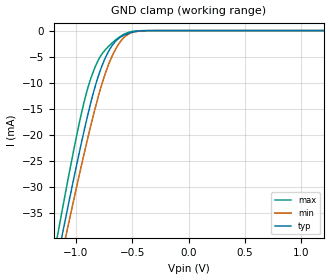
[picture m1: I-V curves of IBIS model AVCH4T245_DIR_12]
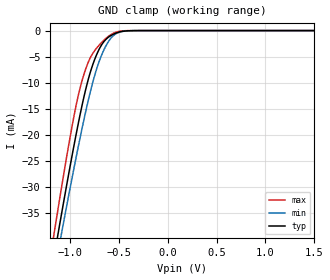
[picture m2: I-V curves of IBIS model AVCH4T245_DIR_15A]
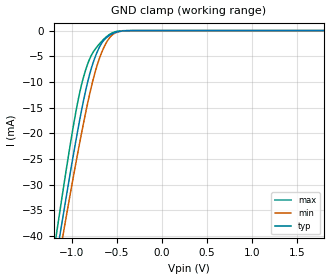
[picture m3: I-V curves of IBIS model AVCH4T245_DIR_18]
| TEXAS INSTRUMENTS INCORPORATED
| Standard Linear and Logic Group
| IBIS Model of SN74AVCH4T245
| 4-BIT DUAL-SUPPLY BUS TRANSCEIVER WITH CONFIGURABLE VOLTAGE
| TRANSLATION AND 3-STATE OUPUTS
| This file contains package information for the following:
|  SOIC 16-pin (D) package as [Component] AVCH4T245_D
|  QFN 16-pin (RGY) package as [Component] AVCH4T245_RGY
|  TSSOP 16-pin (PW) package as [Component] AVCH4T245_PW
|  TVSOP 16-pin (DGV) package as [Component] AVCH4T245_DGV
| This device can be powered at the following Vccs:
|  1.2 volt Vcc
|  1.5 volt Vcc
|  1.8 volt Vcc
|  2.5 volt Vcc
|  3.3 volt Vcc
| This file provides unique models under the [Model Selector] for each Vcc.
| For operation at a specific Vcc, select the appropriate model after each
| [Model Selector] keyword.
[IBIS Ver]   3.2
[Comment char]  |_char
[File Name]   sn74avch4t245.ibs
[File Rev]   1.1 | x_die
[Date]   April 28, 2004
[Source]   Data created from TI-SPICE simulations at TI-SLL.
[Notes]   The following is an IBIS list for the AVCH4T245.
   Please contact sllibis@ti.com with questions and
   comments concerning SLL IBIS models.
   - FILE REV HISTORY
   - 1.1 Release IBIS file on 02/15/06
   - Due to presence of bus hold at input, GND-clamp curves
   have non-monotonic warnings.
   - Power clamp data deleted as there is no power-clamp diode.
   - Due to the fact that the Device is 4.6-V Input/Output
   tolarent, the I/O models has some Non-Monotonic Warnings.
[Disclaimer] Property of Texas Instruments Incorporated.  Unauthorized
                reproduction and/or distribution is strictly prohibited.
                This product is protected under copyright law.
                Created  2004, (C) Copyright  2004, Texas Instruments
                Incorporated, All Rights Reserved
                UNLESS THERE IS A SIGNED, WRITTEN AGREEMENT TO THE
                CONTRARY, TEXAS INSTRUMENTS (TI) IS PROVIDING THE IBIS
                MODELS  AND WITHOUT ANY WARRANTY, EXPRESSED OR
                IMPLIED.  TI assumes no liability for:
                 1) the accuracy of the IBIS models provided to your
                    company;
                 2) the proper functioning of these IBIS Models in your
                    design or for any resulting applications; or
                 3) infringement of patents, copyrights or intellectual
                    property rights resulting from your use of these IBIS
                    models.
                TI provides IBIS Models as a service to our customers.
                You and your company shall not distribute, sell or give
                these models to anyone else without prior written
                permission from TI.
                TI reserves the right to make changes to our products or
                to discontinue any semiconductor product or service
                without notice, and advises our customers to obtain the
                latest version of relevant information to verify, before
                placing orders, that the information being relied on is
                current.
                Please be aware that your receipt and use of the IBIS
                information provided shall serve as acceptance of these
                terms and conditions.  If you do not accept these terms,
                you should return or destroy the IBIS models and any
                other accompanying information immediately.
| Component AVCH4T245_D 16-pin SOIC
[Component]   AVCH4T245_D
[Manufacturer]   Texas Instruments, Inc.
[Package]
|   typ   min   max
R_pkg   3.900e-02   2.800e-02   4.900e-02
L_pkg   3.453e-09   2.350e-09   4.375e-09
C_pkg   5.210e-13   2.540e-13   7.080e-13
[Pin]   signal_name   model_name   R_pin   L_pin   C_pin
1   VCCA   POWER   4.200e-02   4.336e-09   7.030e-13
2   1DIR   AVCH4T245_DIR   4.900e-02   3.778e-09   6.340e-13
3   2DIR   AVCH4T245_DIR   2.800e-02   3.449e-09   5.180e-13
4   1A1   AVCH4T245_IO   2.900e-02   2.393e-09   2.540e-13
5   1A2   AVCH4T245_IO   2.800e-02   2.350e-09   2.640e-13
6   2A1   AVCH4T245_IO   4.800e-02   3.312e-09   4.830e-13
7   2A2   AVCH4T245_IO   4.300e-02   3.629e-09   6.040e-13
8   GND   GND   4.400e-02   4.375e-09   7.080e-13
9   GND   GND   4.200e-02   4.336e-09   7.030e-13
10   2B2   AVCH4T245_IO   4.900e-02   3.778e-09   6.340e-13
11   2B1   AVCH4T245_IO   2.800e-02   3.449e-09   5.180e-13
12   1B2   AVCH4T245_IO   2.900e-02   2.393e-09   2.550e-13
13   1B1   AVCH4T245_IO   2.800e-02   2.350e-09   2.640e-13
14   2NOE   AVCH4T245_NOE   4.800e-02   3.312e-09   4.830e-13
15   1NOE   AVCH4T245_NOE   4.300e-02   3.629e-09   6.040e-13
16   VCCB   POWER   4.400e-02   4.375e-09   7.080e-13
| Component AVCH4T245_RGY 16-pin QFN
[Component]   AVCH4T245_RGY
[Manufacturer]   Texas Instruments, Inc.
[Package]
|   typ   min   max
R_pkg   3.300e-02   2.900e-02   3.900e-02
L_pkg   7.470e-10   6.630e-10   8.830e-10
C_pkg   3.150e-13   3.030e-13   3.300e-13
[Pin]   signal_name   model_name   R_pin   L_pin   C_pin
1   VCCA   POWER   3.400e-02   7.740e-10   3.030e-13
2   1DIR   AVCH4T245_DIR   3.400e-02   7.570e-10   3.110e-13
3   2DIR   AVCH4T245_DIR   3.800e-02   8.510e-10   3.270e-13
4   1A1   AVCH4T245_IO   2.900e-02   6.630e-10   3.110e-13
5   1A2   AVCH4T245_IO   2.900e-02   6.640e-10   3.110e-13
6   2A1   AVCH4T245_IO   3.000e-02   6.730e-10   3.110e-13
7   2A2   AVCH4T245_IO   2.900e-02   6.650e-10   3.110e-13
8   GND   GND   3.300e-02   7.420e-10   3.170e-13
9   GND   GND   3.400e-02   7.640e-10   3.100e-13
10   2B2   AVCH4T245_IO   3.200e-02   7.300e-10   3.140e-13
11   2B1   AVCH4T245_IO   3.800e-02   8.590e-10   3.300e-13
12   1B2   AVCH4T245_IO   3.600e-02   8.120e-10   3.220e-13
13   1B1   AVCH4T245_IO   3.100e-02   7.050e-10   3.140e-13
14   2NOE   AVCH4T245_NOE   3.200e-02   7.210e-10   3.150e-13
15   1NOE   AVCH4T245_NOE   3.000e-02   6.840e-10   3.140e-13
16   VCCB   POWER   3.900e-02   8.830e-10   3.210e-13
| Component AVCH4T245_PW 16-pin TSSOP
[Component]   AVCH4T245_PW
[Manufacturer]   Texas Instruments, Inc.
[Package]
|   typ   min   max
R_pkg   4.500e-02   3.800e-02   5.100e-02
L_pkg   2.593e-09   2.447e-09   3.080e-09
C_pkg   2.810e-13   2.430e-13   3.770e-13
[Pin]   signal_name   model_name   R_pin   L_pin   C_pin
1   VCCA   POWER   4.000e-02   3.080e-09   3.770e-13
2   1DIR   AVCH4T245_DIR   3.800e-02   2.458e-09   2.810e-13
3   2DIR   AVCH4T245_DIR   5.100e-02   2.512e-09   2.550e-13
4   1A1   AVCH4T245_IO   5.100e-02   2.447e-09   2.430e-13
5   1A2   AVCH4T245_IO   5.100e-02   2.447e-09   2.430e-13
6   2A1   AVCH4T245_IO   5.100e-02   2.512e-09   2.550e-13
7   2A2   AVCH4T245_IO   3.800e-02   2.458e-09   2.810e-13
8   GND   GND   4.000e-02   3.080e-09   3.770e-13
9   GND   GND   3.900e-02   2.832e-09   3.160e-13
10   2B2   AVCH4T245_IO   3.800e-02   2.460e-09   2.790e-13
11   2B1   AVCH4T245_IO   5.100e-02   2.512e-09   2.550e-13
12   1B2   AVCH4T245_IO   5.100e-02   2.447e-09   2.430e-13
13   1B1   AVCH4T245_IO   5.100e-02   2.447e-09   2.430e-13
14   2NOE   AVCH4T245_NOE   5.100e-02   2.512e-09   2.550e-13
15   1NOE   AVCH4T245_NOE   3.800e-02   2.459e-09   2.790e-13
16   VCCB   POWER   3.900e-02   2.832e-09   3.160e-13
| Component AVCH4T245_DGV 16-pin TVSOP
[Component]   AVCH4T245_DGV
[Manufacturer]   Texas Instruments, Inc.
[Package]
|   typ   min   max
R_pkg   3.900e-02   3.300e-02   4.500e-02
L_pkg   2.543e-09   2.320e-09   2.938e-09
C_pkg   3.860e-13   3.340e-13   4.490e-13
[Pin]   signal_name   model_name   R_pin   L_pin   C_pin
1   VCCA   POWER   3.500e-02   2.907e-09   4.170e-13
2   1DIR   AVCH4T245_DIR   4.200e-02   2.558e-09   4.460e-13
3   2DIR   AVCH4T245_DIR   3.800e-02   2.341e-09   3.450e-13
4   1A1   AVCH4T245_IO   3.800e-02   2.320e-09   3.340e-13
5   1A2   AVCH4T245_IO   3.900e-02   2.322e-09   3.340e-13
6   2A1   AVCH4T245_IO   3.800e-02   2.353e-09   3.420e-13
7   2A2   AVCH4T245_IO   4.000e-02   2.536e-09   4.410e-13
8   GND   GND   3.300e-02   2.897e-09   4.180e-13
9   GND   GND   3.500e-02   2.927e-09   4.190e-13
10   2B2   AVCH4T245_IO   4.500e-02   2.632e-09   4.490e-13
11   2B1   AVCH4T245_IO   3.900e-02   2.368e-09   3.470e-13
12   1B2   AVCH4T245_IO   3.900e-02   2.330e-09   3.350e-13
13   1B1   AVCH4T245_IO   3.900e-02   2.320e-09   3.350e-13
14   2NOE   AVCH4T245_NOE   3.900e-02   2.361e-09   3.450e-13
15   1NOE   AVCH4T245_NOE   4.100e-02   2.573e-09   4.460e-13
16   VCCB   POWER   3.500e-02   2.938e-09   4.200e-13
| Model AVCH4T245_DIR
[Model Selector]   AVCH4T245_DIR
AVCH4T245_DIR_12   1.2 volt Vcc
AVCH4T245_DIR_15A   1.5 volt Vcc
AVCH4T245_DIR_18   1.8 volt Vcc
AVCH4T245_DIR_25   2.5 volt Vcc
AVCH4T245_DIR_33   3.3 volt Vcc
| Model AVCH4T245_NOE
[Model Selector]   AVCH4T245_NOE
AVCH4T245_NOE_12   1.2 volt Vcc
AVCH4T245_NOE_15A   1.5 volt Vcc
AVCH4T245_NOE_18   1.8 volt Vcc
AVCH4T245_NOE_25   2.5 volt Vcc
AVCH4T245_NOE_33   3.3 volt Vcc
| Model AVCH4T245_IO
[Model Selector]   AVCH4T245_IO
AVCH4T245_IO_12   1.2 volt Vcc
AVCH4T245_IO_15A   1.5 volt Vcc
AVCH4T245_IO_18   1.8 volt Vcc
AVCH4T245_IO_25   2.5 volt Vcc
AVCH4T245_IO_33   3.3 volt Vcc
| Models and submodels in the file (15): AVCH4T245_DIR_12 (Input), AVCH4T245_DIR_15A (Input), AVCH4T245_DIR_18 (Input), AVCH4T245_DIR_25 (Input), AVCH4T245_DIR_33 (Input), AVCH4T245_NOE_12 (Input), AVCH4T245_NOE_15A (Input), AVCH4T245_NOE_18 (Input), AVCH4T245_NOE_25 (Input), AVCH4T245_NOE_33 (Input), AVCH4T245_IO_12 (I/O), AVCH4T245_IO_15A (I/O), AVCH4T245_IO_18 (I/O), AVCH4T245_IO_25 (I/O), AVCH4T245_IO_33 (I/O)
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[Model]   AVCH4T245_DIR_12
Model_type  Input
Vinl=0.385
Vinh=0.845
| variable   typ   min   max
C_comp   2.80pF   2.40pF   3.24pF
[Temperature Range]   40   100   -40
| Ambient temperature   25   85   -40
[Voltage range]   1.2   1.1   1.3
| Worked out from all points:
|   GND clamp passes 1 mA (typ) near -0.58 V on its own axis
[GND Clamp]
| AVCH4T245_DIR_12
|   Voltage   I(typ)   I(min)   I(max)
-4.6V     -459.2mA   -437.9mA   -484.2mA
-1.165V   -43.78mA   -47mA      -39.35mA
-1.115V   -38.35mA   -41.89mA   -33.51mA
-1.09V    -35.67mA   -39.36mA   -30.63mA
-1.065V   -33.02mA   -36.85mA   -27.8mA
-945mV    -20.79mA   -25.16mA   -15.18mA
-840mV    -11.44mA   -15.71mA   -7.485mA
-710mV    -3.942mA   -6.433mA   -2.997mA
-630mV    -1.665mA   -2.889mA   -1.475mA
-555mV    -700.6uA   -964.8uA   -509.7uA
-385mV    -23.61uA   -32.06uA   -5.101uA
1.2V      106.8pA    765.6pA    17.5pA
[Model]   AVCH4T245_DIR_15A
Model_type  Input
Vinl=0.49
Vinh=1.04
| variable   typ   min   max
C_comp   2.77pF   2.32pF   3.25pF
[Temperature Range]   40   100   -40
| Ambient temperature   25   85   -40
[Voltage range]   1.5   1.4   1.6
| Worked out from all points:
|   GND clamp passes 1 mA (typ) near -0.58 V on its own axis
[GND Clamp]
| AVCH4T245_DIR_15A
|   Voltage   I(typ)   I(min)   I(max)
-4.6V     -459.2mA   -437.9mA   -484.2mA
-1.175V   -44.87mA   -48.03mA   -40.53mA
-1.145V   -41.6mA    -44.95mA   -37mA
-1.12V    -38.89mA   -42.4mA    -34.09mA
-1.095V   -36.21mA   -39.87mA   -31.21mA
-1.07V    -33.55mA   -37.35mA   -28.36mA
-945mV    -20.79mA   -25.16mA   -15.18mA
-840mV    -11.44mA   -15.71mA   -7.485mA
-775mV    -7.058mA   -10.58mA   -4.657mA
-700mV    -3.56mA    -5.9mA     -2.784mA
-545mV    -612.9uA   -811.6uA   -423.5uA
1.5V      118pA      793.8pA    21.88pA
[Model]   AVCH4T245_DIR_18
Model_type  Input
Vinl=0.5775
Vinh=1.2675
| variable   typ   min   max
C_comp   2.73pF   2.23pF   3.27pF
[Temperature Range]   40   100   -40
| Ambient temperature   25   85   -40
[Voltage range]   1.8   1.65   1.95
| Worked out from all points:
|   GND clamp passes 1 mA (typ) near -0.58 V on its own axis
[GND Clamp]
| AVCH4T245_DIR_18
|   Voltage   I(typ)   I(min)   I(max)
-4.6V     -459.2mA   -437.9mA   -484.2mA
-1.185V   -45.97mA   -49.06mA   -41.71mA
-1.155V   -42.69mA   -45.98mA   -38.17mA
-1.13V    -39.97mA   -43.42mA   -35.25mA
-1.105V   -37.28mA   -40.88mA   -32.35mA
-1.08V    -34.61mA   -38.36mA   -29.5mA
-950mV    -21.28mA   -25.63mA   -15.65mA
-840mV    -11.44mA   -15.71mA   -7.485mA
-765mV    -6.504mA   -9.869mA   -4.351mA
-695mV    -3.38mA    -5.644mA   -2.68mA
-540mV    -571.7uA   -743.1uA   -384.3uA
1.8V      129.6pA    822.2pA    26.26pA
